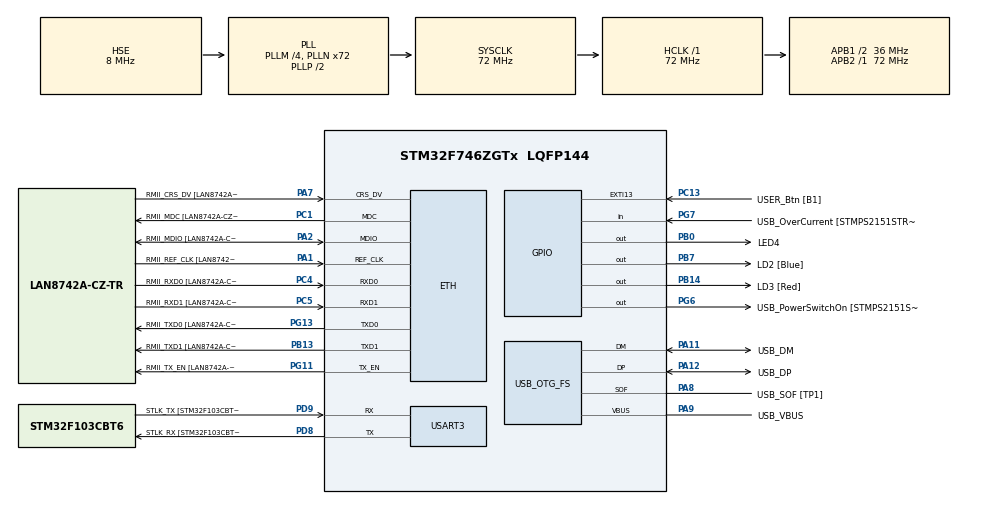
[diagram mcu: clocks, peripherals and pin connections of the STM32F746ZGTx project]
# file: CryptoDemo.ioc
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ETH.MediaInterface=HAL_ETH_RMII_MODE
ETH.PHY_Name=LAN8742A_PHY_ADDRESS
ETH.PHY_Value=0
ETH.PhyAddress=0
Mcu.Family=STM32F7
Mcu.Name=STM32F746ZGTx
Mcu.Package=LQFP144
NVIC.PriorityGroup=NVIC_PRIORITYGROUP_4
NVIC.USART3_IRQn=true\:0\:0\:false\:false\:true\:true\:true\:true
PA1.GPIO_Label=RMII_REF_CLK [LAN8742A-CZ-TR_REFCLK0]
PA1.Mode=RMII
PA1.Signal=ETH_REF_CLK
PA10.GPIO_Label=USB_ID
PA10.Signal=USB_OTG_FS_ID
PA11.GPIO_Label=USB_DM
PA11.Mode=Device_Only
PA11.Signal=USB_OTG_FS_DM
PA12.GPIO_Label=USB_DP
PA12.Mode=Device_Only
PA12.Signal=USB_OTG_FS_DP
PA13.GPIO_Label=TMS
PA13.Mode=Serial_Wire
PA13.Signal=SYS_JTMS-SWDIO
PA14.GPIO_Label=TCK
PA14.Mode=Serial_Wire
PA14.Signal=SYS_JTCK-SWCLK
PA2.GPIO_Label=RMII_MDIO [LAN8742A-CZ-TR_MDIO]
PA2.Mode=RMII
PA2.Signal=ETH_MDIO
PA7.GPIO_Label=RMII_CRS_DV [LAN8742A-CZ-TR_CRS_DV]
PA7.Mode=RMII
PA7.Signal=ETH_CRS_DV
PA8.GPIO_Label=USB_SOF [TP1]
PA8.Mode=Activate_SOF_FS
PA8.Signal=USB_OTG_FS_SOF
PA9.GPIO_Label=USB_VBUS
PA9.Mode=Activate_VBUS
PA9.Signal=USB_OTG_FS_VBUS
PB0.GPIO_Label=LED4
PB0.Signal=GPIO_Output
PB13.GPIO_Label=RMII_TXD1 [LAN8742A-CZ-TR_TXD1]
PB13.Mode=RMII
PB13.Signal=ETH_TXD1
PB14.GPIO_Label=LD3 [Red]
PB14.Signal=GPIO_Output
PB3.GPIO_Label=SW0
PB3.Signal=SYS_JTDO-SWO
PB7.GPIO_Label=LD2 [Blue]
PB7.Signal=GPIO_Output
PC1.GPIO_Label=RMII_MDC [LAN8742A-CZ-TR_MDC]
PC1.Mode=RMII
PC1.Signal=ETH_MDC
PC13.GPIO_Label=USER_Btn [B1]
PC13.Signal=GPXTI13
PC14/OSC32_IN.Mode=LSE-External-Oscillator
PC14/OSC32_IN.Signal=RCC_OSC32_IN
PC15/OSC32_OUT.Mode=LSE-External-Oscillator
PC15/OSC32_OUT.Signal=RCC_OSC32_OUT
PC4.GPIO_Label=RMII_RXD0 [LAN8742A-CZ-TR_RXD0]
PC4.Mode=RMII
PC4.Signal=ETH_RXD0
PC5.GPIO_Label=RMII_RXD1 [LAN8742A-CZ-TR_RXD1]
PC5.Mode=RMII
PC5.Signal=ETH_RXD1
PD8.GPIO_Label=STLK_RX [STM32F103CBT6_PA3]
PD8.GPIO_PuPd=GPIO_PULLUP
PD8.Mode=Asynchronous
PD8.Signal=USART3_TX
PD9.GPIO_Label=STLK_TX [STM32F103CBT6_PA2]
PD9.GPIO_PuPd=GPIO_PULLUP
PD9.Mode=Asynchronous
PD9.Signal=USART3_RX
PG11.GPIO_Label=RMII_TX_EN [LAN8742A-CZ-TR_TXEN]
PG11.Mode=RMII
PG11.Signal=ETH_TX_EN
PG13.GPIO_Label=RMII_TXD0 [LAN8742A-CZ-TR_TXD0]
PG13.Mode=RMII
PG13.Signal=ETH_TXD0
PG6.GPIO_Label=USB_PowerSwitchOn [STMPS2151STR_EN]
PG6.Signal=GPIO_Output
PG7.GPIO_Label=USB_OverCurrent [STMPS2151STR_FAULT]
PG7.Signal=GPIO_Input
PH0/OSC_IN.GPIO_Label=MCO [STM32F103CBT6_PA8]
PH0/OSC_IN.Mode=HSE-External-Clock-Source
PH0/OSC_IN.Signal=RCC_OSC_IN
PH1/OSC_OUT.Mode=HSE-External-Clock-Source
PH1/OSC_OUT.Signal=RCC_OSC_OUT
ProjectManager.HeapSize=0x200
ProjectManager.StackSize=0x400
ProjectManager.TargetToolchain=STM32CubeIDE
RCC.48MHZClocksFreq_Value=24000000
RCC.AHBFreq_Value=72000000
RCC.APB1CLKDivider=RCC_HCLK_DIV2
RCC.APB1Freq_Value=36000000
RCC.APB1TimFreq_Value=72000000
RCC.APB2Freq_Value=72000000
RCC.APB2TimFreq_Value=72000000
RCC.CortexFreq_Value=72000000
RCC.HCLKFreq_Value=72000000
RCC.HSE_VALUE=8000000
RCC.HSI_VALUE=16000000
RCC.PLLM=4
RCC.PLLMUL=RCC_PLL_MUL9
RCC.PLLN=72
RCC.PLLQ=3
RCC.PRESCALERUSB=RCC_USBCLKSOURCE_PLL_DIV1_5
RCC.SYSCLKFreq_VALUE=72000000
RCC.SYSCLKSource=RCC_SYSCLKSOURCE_PLLCLK
RCC.SYSCLKSourceVirtual=RCC_SYSCLKSOURCE_PLLCLK
RCC.USBFreq_Value=48000000
RCC.VCOOutputFreq_Value=144000000
USART3.VirtualMode-Asynchronous=VM_ASYNC
USB_OTG_FS.VirtualMode=Device_Only
VP_CRC_VS_CRC.Mode=CRC_Activate
board=NUCLEO-F746ZG

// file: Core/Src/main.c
/* USER CODE BEGIN Header */
/**
  ******************************************************************************
  * @file           : main.c
  * @brief          : Main program body
  ******************************************************************************
  * @attention
  *
  * Copyright (c) 2024 STMicroelectronics.
  * All rights reserved.
  *
  * This software is licensed under terms that can be found in the LICENSE file
  * in the root directory of this software component.
  * If no LICENSE file comes with this software, it is provided AS-IS.
  *
  ******************************************************************************
  */
/* USER CODE END Header */
#include "main.h"
#include "crc.h"
#include "usart.h"
#include "gpio.h"

/* USER CODE BEGIN Includes */
#include "stdio.h"
#include "hashcheck.h"
#include "securitycheck.h"
#include "app.h"
#include "sigcheck.h"
/* USER CODE END Includes */

/* USER CODE BEGIN PV */
extern const volatile unsigned int  _Addr_Application;
/* USER CODE END PV */

void SystemClock_Config(void);

/* USER CODE BEGIN 0 */
int __io_putchar(int ch) {
    // Send a character via UART
    HAL_UART_Transmit(&huart3, (uint8_t *)&ch, 1, 10);
    return ch;
}
/* USER CODE END 0 */

int main(void)
{

  /* USER CODE BEGIN 1 */
    SCB->VTOR = (uint32_t)(&_Addr_Application);
  __enable_irq();
  /* USER CODE END 1 */

  /* MCU Configuration--------------------------------------------------------*/

  /* Reset of all peripherals, Initializes the Flash interface and the Systick. */
  HAL_Init();

  /* Configure the system clock */
  SystemClock_Config();

  /* Initialize all configured peripherals */
  MX_GPIO_Init();
  MX_USART3_UART_Init();
  MX_CRC_Init();
  /* USER CODE BEGIN 2 */
  printf("\r\n============= APP COM Init ==========\r\n");

  /*printf("\r\n=============> Protection check\r\n");
  CheckApplyStaticProtections();

  printf("\r\n=============> FW Hash Verification\r\n");
  FwHashVerify();

  printf("\r\n=============> FW Signature Verification\r\n");
  FwSignatureVerify(); */

  printf("\r\n=============> Start App \r\n");
  APP_Init();
  APP_Run();
  /* USER CODE END 2 */

  /* Infinite loop */
  while (1)
  {

  }
}

void SystemClock_Config(void)
{
  RCC_OscInitTypeDef RCC_OscInitStruct = {0};
  RCC_ClkInitTypeDef RCC_ClkInitStruct = {0};

  /** Configure LSE Drive Capability
  */
  HAL_PWR_EnableBkUpAccess();

  /** Configure the main internal regulator output voltage
  */
  __HAL_RCC_PWR_CLK_ENABLE();
  __HAL_PWR_VOLTAGESCALING_CONFIG(PWR_REGULATOR_VOLTAGE_SCALE3);

  /** Initializes the RCC Oscillators according to the specified parameters
  * in the RCC_OscInitTypeDef structure.
  */
  RCC_OscInitStruct.OscillatorType = RCC_OSCILLATORTYPE_HSE;
  RCC_OscInitStruct.HSEState = RCC_HSE_BYPASS;
  RCC_OscInitStruct.PLL.PLLState = RCC_PLL_ON;
  RCC_OscInitStruct.PLL.PLLSource = RCC_PLLSOURCE_HSE;
  RCC_OscInitStruct.PLL.PLLM = 4;
  RCC_OscInitStruct.PLL.PLLN = 72;
  RCC_OscInitStruct.PLL.PLLP = RCC_PLLP_DIV2;
  RCC_OscInitStruct.PLL.PLLQ = 3;
  if (HAL_RCC_OscConfig(&RCC_OscInitStruct) != HAL_OK)
  {
    Error_Handler();
  }

  /** Initializes the CPU, AHB and APB buses clocks
  */
  RCC_ClkInitStruct.ClockType = RCC_CLOCKTYPE_HCLK|RCC_CLOCKTYPE_SYSCLK
                              |RCC_CLOCKTYPE_PCLK1|RCC_CLOCKTYPE_PCLK2;
  RCC_ClkInitStruct.SYSCLKSource = RCC_SYSCLKSOURCE_PLLCLK;
  RCC_ClkInitStruct.AHBCLKDivider = RCC_SYSCLK_DIV1;
  RCC_ClkInitStruct.APB1CLKDivider = RCC_HCLK_DIV2;
  RCC_ClkInitStruct.APB2CLKDivider = RCC_HCLK_DIV1;

  if (HAL_RCC_ClockConfig(&RCC_ClkInitStruct, FLASH_LATENCY_2) != HAL_OK)
  {
    Error_Handler();
  }
}

void Error_Handler(void)
{
  __disable_irq();
  while (1)
  {
  }
}
